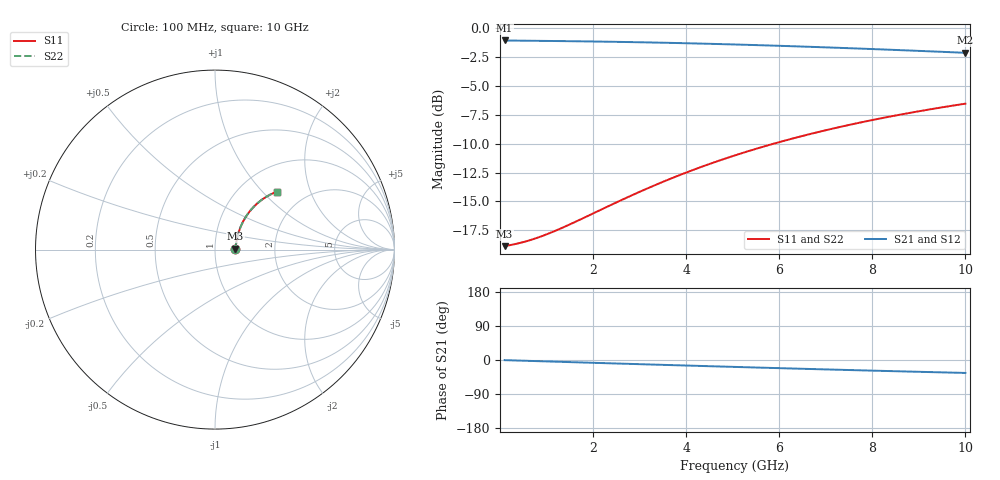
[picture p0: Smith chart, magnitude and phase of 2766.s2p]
# Hz S RI R 50.00
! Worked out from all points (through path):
!   100 points, 100 MHz to 10 GHz, reference 50 ohm
!   highest |S21| = -1.05 dB at 100 MHz (marker M1); lowest = -2.1 dB at 10 GHz (marker M2)
!   group delay of S21, straight-line fit = 9.52 ps
!   lowest |S11| = -18.9 dB at 100 MHz (marker M3), VSWR 1.26, Z = 62.8 + j0.584 ohm
!   |S11| at or under -10 dB: start of sweep to 5.88 GHz
!   |S22| runs from -18.9 to -6.5 dB; largest |S21 - S12| = 0
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1e8  0.1136 0.00459  0.8864 -0.00575  0.8864 -0.00575  0.1136 0.00459
3e8  0.115 0.0137  0.885 -0.0172  0.885 -0.0172  0.115 0.0137
5e8  0.1162 0.0228  0.8838 -0.0286  0.8838 -0.0286  0.1162 0.0228
8e8  0.1181 0.0364  0.8818 -0.0457  0.8818 -0.0457  0.1181 0.0364
1e9  0.1196 0.0454  0.8803 -0.057  0.8803 -0.057  0.1196 0.0454
1.2e9  0.1212 0.0543  0.8787 -0.0683  0.8787 -0.0683  0.1212 0.0543
1.5e9  0.124 0.0676  0.8758 -0.0851  0.8758 -0.0851  0.124 0.0676
1.8e9  0.1273 0.0808  0.8725 -0.1017  0.8725 -0.1017  0.1273 0.0808
2.7e9  0.1397 0.1191  0.8597 -0.1505  0.8597 -0.1505  0.1397 0.1191
3.1e9  0.1465 0.1355  0.8527 -0.1716  0.8527 -0.1716  0.1465 0.1355
3.4e9  0.1521 0.1475  0.847 -0.1871  0.847 -0.1871  0.1521 0.1475
3.8e9  0.1602 0.1631  0.8387 -0.2073  0.8387 -0.2073  0.1602 0.1631
4.2e9  0.169 0.1781  0.8297 -0.227  0.8297 -0.227  0.169 0.1781
4.6e9  0.1784 0.1925  0.8201 -0.2461  0.8201 -0.2461  0.1784 0.1925
5.1e9  0.1909 0.2097  0.8072 -0.2691  0.8072 -0.2691  0.1909 0.2097
5.5e9  0.2016 0.2227  0.7962 -0.2869  0.7962 -0.2869  0.2016 0.2227
5.9e9  0.2127 0.2351  0.7847 -0.3039  0.7847 -0.3039  0.2127 0.2351
6.7e9  0.2363 0.2578  0.7604 -0.3361  0.7604 -0.3361  0.2363 0.2578
7.5e9  0.2613 0.2778  0.7346 -0.3655  0.7346 -0.3655  0.2613 0.2778
8.4e9  0.2905 0.2969  0.7043 -0.3953  0.7043 -0.3953  0.2905 0.2969
9.2e9  0.3172 0.311  0.6766 -0.4189  0.6766 -0.4189  0.3172 0.311
1e10  0.3441 0.3224  0.6485 -0.4398  0.6485 -0.4398  0.3441 0.3224
